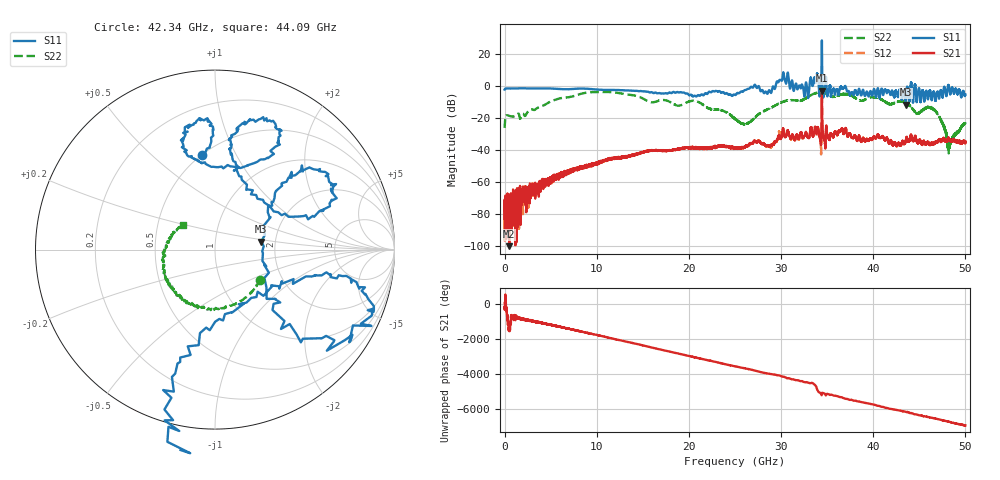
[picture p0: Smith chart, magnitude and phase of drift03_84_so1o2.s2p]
!Created with skrf (http://scikit-rf.org).
# Hz S RI R 50.0
!freq ReS11 ImS11 ReS21 ImS21 ReS12 ImS12 ReS22 ImS22
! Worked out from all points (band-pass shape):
!   10000 points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, 5.3 MHz to 50 GHz, reference 50 ohm
!   highest |S21| = -2.80 dB at 34.43 GHz (marker M1); lowest = -100.2 dB at 510.3 MHz (marker M2)
!   |S21| within 3 dB of the highest: 34.42744 GHz to 34.43454 GHz (7.098 MHz wide, 0.0206 % of centre)
!   lowest |S11| = -11.7 dB at 43.51 GHz (marker M3), VSWR 1.71, Z = 84.2 + j8 ohm
!   |S11| at or under -10 dB: 43.48377 GHz to 43.5438 GHz (60.03 MHz wide, 0.138 % of centre); 44.3092 GHz to 44.31743 GHz (8.226 MHz wide, 0.0186 % of centre); 44.70972 GHz to 44.7102 GHz (477 kHz wide, 0.00107 % of centre) (the widest 3 of 4)
!   |S22| runs from -42.0 to -3.6 dB; largest |S21 - S12| = 0.23
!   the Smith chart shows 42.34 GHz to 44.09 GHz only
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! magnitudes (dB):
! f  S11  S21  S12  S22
! 5.3 MHz  -2.1  -77.9  -82.1  -26.1
! 510.3 MHz  -1.4  -100.2  -71.5  -18.6
! 2.915 GHz  -1.4  -63.6  -63.2  -14.4
! 8.34 GHz  -1.5  -50.9  -51.1  -4.7
! 16.67 GHz  -4.4  -40.4  -40.4  -9.2
! 20.75 GHz  -6.4  -38.8  -38.5  -9.3
! 25.01 GHz  -5.5  -38.8  -38.8  -20.5
! 26.24 GHz  -2.2  -37.3  -37.7  -23.5
! 27.37 GHz  -1.1  -34.8  -34.7  -18.6
! 28.72 GHz  -2.5  -37.5  -37.4  -14.0
! 30.14 GHz  4.4  -29.5  -29.7  -9.9
! 32.74 GHz  2.0  -29.6  -29.2  -7.3
! 33.34 GHz  2.6  -27.4  -27.7  -5.3
! 33.82 GHz  4.0  -29.1  -29.4  -4.3
! 34.43 GHz  28.7  -2.8  -4.9  -4.0
! 36.48 GHz  -0.5  -28.0  -27.9  -5.2
! 41.67 GHz  -2.8  -35.3  -35.5  -11.0
! 43.51 GHz  -11.7  -34.7  -34.7  -10.2
! 44.75 GHz  -8.5  -34.8  -35.0  -16.9
! 46.66 GHz  -5.2  -35.2  -35.9  -15.1
! 48.26 GHz  -2.0  -34.1  -33.5  -38.4
! 50 GHz  -5.2  -34.9  -34.7  -23.3
